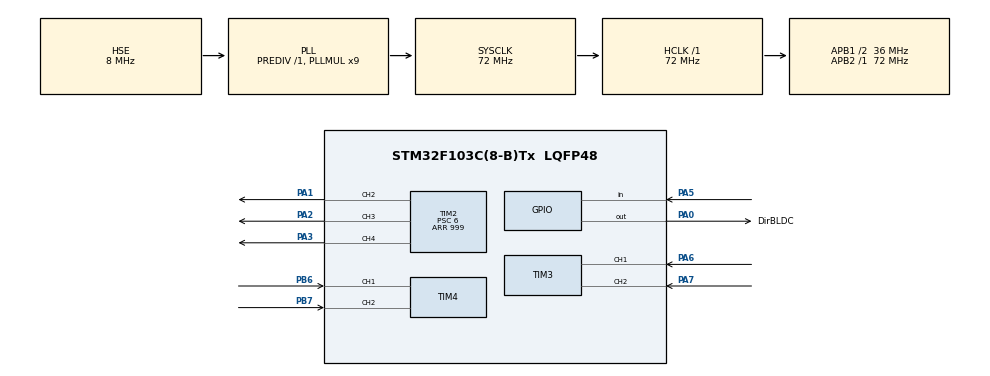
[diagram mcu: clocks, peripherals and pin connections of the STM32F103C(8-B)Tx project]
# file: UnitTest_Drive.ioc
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FREERTOS.Tasks01=DriveBLDC,-1,128,StartDriveBLDC,Default,NULL,Dynamic,NULL,NULL;DriveDC,-1,128,StartDrvieDC,Default,NULL,Dynamic,NULL,NULL
Mcu.Family=STM32F1
Mcu.Name=STM32F103C(8-B)Tx
Mcu.Package=LQFP48
NVIC.PriorityGroup=NVIC_PRIORITYGROUP_4
NVIC.TIM3_IRQn=true\:5\:0\:false\:false\:true\:true\:true\:true\:true
NVIC.TIM4_IRQn=true\:5\:0\:false\:false\:true\:true\:true\:true\:true
PA0-WKUP.GPIO_Label=DirBLDC
PA0-WKUP.Signal=GPIO_Output
PA1.Signal=S_TIM2_CH2
PA13.Mode=Serial_Wire
PA13.Signal=SYS_JTMS-SWDIO
PA14.Mode=Serial_Wire
PA14.Signal=SYS_JTCK-SWCLK
PA2.Signal=S_TIM2_CH3
PA3.Signal=S_TIM2_CH4
PA5.Signal=GPIO_Input
PA6.Signal=S_TIM3_CH1
PA7.Signal=S_TIM3_CH2
PB6.Signal=S_TIM4_CH1
PB7.Signal=S_TIM4_CH2
PD0-OSC_IN.Mode=HSE-External-Oscillator
PD0-OSC_IN.Signal=RCC_OSC_IN
PD1-OSC_OUT.Mode=HSE-External-Oscillator
PD1-OSC_OUT.Signal=RCC_OSC_OUT
ProjectManager.HeapSize=0x200
ProjectManager.StackSize=0x400
ProjectManager.TargetToolchain=STM32CubeIDE
RCC.AHBFreq_Value=72000000
RCC.APB1CLKDivider=RCC_HCLK_DIV2
RCC.APB1Freq_Value=36000000
RCC.APB1TimFreq_Value=72000000
RCC.APB2Freq_Value=72000000
RCC.APB2TimFreq_Value=72000000
RCC.HCLKFreq_Value=72000000
RCC.PLLMUL=RCC_PLL_MUL9
RCC.PLLSourceVirtual=RCC_PLLSOURCE_HSE
RCC.SYSCLKFreq_VALUE=72000000
RCC.SYSCLKSource=RCC_SYSCLKSOURCE_PLLCLK
RCC.USBFreq_Value=72000000
SH.S_TIM2_CH2.0=TIM2_CH2,PWM Generation2 CH2
SH.S_TIM2_CH3.0=TIM2_CH3,PWM Generation3 CH3
SH.S_TIM2_CH4.0=TIM2_CH4,PWM Generation4 CH4
SH.S_TIM3_CH1.0=TIM3_CH1,Encoder_Interface
SH.S_TIM3_CH2.0=TIM3_CH2,Encoder_Interface
SH.S_TIM4_CH1.0=TIM4_CH1,Encoder_Interface
SH.S_TIM4_CH2.0=TIM4_CH2,Encoder_Interface
TIM2.Channel-PWM\ Generation2\ CH2=TIM_CHANNEL_2
TIM2.Channel-PWM\ Generation3\ CH3=TIM_CHANNEL_3
TIM2.Channel-PWM\ Generation4\ CH4=TIM_CHANNEL_4
TIM2.Period=999
TIM2.Prescaler=6
TIM3.EncoderMode=TIM_ENCODERMODE_TI12
TIM4.EncoderMode=TIM_ENCODERMODE_TI12
VP_FREERTOS_VS_CMSIS_V1.Mode=CMSIS_V1
VP_TIM2_VS_ClockSourceINT.Mode=Internal
board=custom

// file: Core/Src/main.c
/* USER CODE BEGIN Header */
/**
  ******************************************************************************
  * @file           : main.c
  * @brief          : Main program body
  ******************************************************************************
  * @attention
  *
  * Copyright (c) 2023 STMicroelectronics.
  * All rights reserved.
  *
  * This software is licensed under terms that can be found in the LICENSE file
  * in the root directory of this software component.
  * If no LICENSE file comes with this software, it is provided AS-IS.
  *
  ******************************************************************************
  */
/* USER CODE END Header */
#include "main.h"
#include "cmsis_os.h"

/* USER CODE BEGIN Includes */
#include "DriveMotor.h"
#include "Encoder.h"
#include "stdlib.h"
/* USER CODE END Includes */

/* USER CODE BEGIN PM */
/*-----------------------------Begin:BLDC Macro-------------------------------*/
#define _BLDCDeltaT							0.001
#define _BLDCEncoderPerRound 				  200
#define _BLDCGearRatio 						  2.5
/*-----------------------------End:BLDC Macro---------------------------------*/

/*-----------------------------Begin:DC Macro---------------------------------*/
#define DCDeltaT 							0.001
#define DCEncoderPerRound 					 1000
#define DCGearRatio 						3.535
/*-----------------------------End:DC Macro-----------------------------------*/

/* USER CODE END PM */

TIM_HandleTypeDef htim2;
TIM_HandleTypeDef htim3;
TIM_HandleTypeDef htim4;

osThreadId DriveBLDCHandle;
osThreadId DriveDCHandle;
/* USER CODE BEGIN PV */
EncoderRead ENC_BLDC;
EncoderRead ENC_DC;

MotorDrive BLDC;
MotorDrive DC;

int16_t SpeedTestBLDC;
int16_t SpeedTestDC;
/* USER CODE END PV */

void SystemClock_Config(void);
static void MX_GPIO_Init(void);
static void MX_TIM2_Init(void);
static void MX_TIM3_Init(void);
static void MX_TIM4_Init(void);
void StartDriveBLDC(void const * argument);
void StartDrvieDC(void const * argument);

int main(void)
{

  /* MCU Configuration--------------------------------------------------------*/

  /* Reset of all peripherals, Initializes the Flash interface and the Systick. */
  HAL_Init();

  /* Configure the system clock */
  SystemClock_Config();

  /* Initialize all configured peripherals */
  MX_GPIO_Init();
  MX_TIM2_Init();
  MX_TIM3_Init();
  MX_TIM4_Init();
  /* USER CODE BEGIN 2 */
  HAL_TIM_Encoder_Start_IT(&htim3, TIM_CHANNEL_ALL);
  HAL_TIM_Encoder_Start_IT(&htim4, TIM_CHANNEL_ALL);
  HAL_TIM_PWM_Start(&htim2, TIM_CHANNEL_2);
  HAL_TIM_PWM_Start(&htim2, TIM_CHANNEL_3);
  HAL_TIM_PWM_Start(&htim2, TIM_CHANNEL_4);

  EncoderSetting(&ENC_BLDC, &htim4, _BLDCEncoderPerRound*_BLDCGearRatio, _BLDCDeltaT);
  EncoderSetting(&ENC_DC, &htim3, DCEncoderPerRound * DCGearRatio, DCDeltaT);
  /* USER CODE END 2 */

  /* Create the thread(s) */
  /* definition and creation of DriveBLDC */
  osThreadDef(DriveBLDC, StartDriveBLDC, osPriorityBelowNormal, 0, 128);
  DriveBLDCHandle = osThreadCreate(osThread(DriveBLDC), NULL);

  /* definition and creation of DriveDC */
  osThreadDef(DriveDC, StartDrvieDC, osPriorityBelowNormal, 0, 128);
  DriveDCHandle = osThreadCreate(osThread(DriveDC), NULL);

  /* Start scheduler */
  osKernelStart();

  /* We should never get here as control is now taken by the scheduler */
  /* Infinite loop */
  while (1)
  {

  }
}

void SystemClock_Config(void)
{
  RCC_OscInitTypeDef RCC_OscInitStruct = {0};
  RCC_ClkInitTypeDef RCC_ClkInitStruct = {0};

  /** Initializes the RCC Oscillators according to the specified parameters
  * in the RCC_OscInitTypeDef structure.
  */
  RCC_OscInitStruct.OscillatorType = RCC_OSCILLATORTYPE_HSE;
  RCC_OscInitStruct.HSEState = RCC_HSE_ON;
  RCC_OscInitStruct.HSEPredivValue = RCC_HSE_PREDIV_DIV1;
  RCC_OscInitStruct.HSIState = RCC_HSI_ON;
  RCC_OscInitStruct.PLL.PLLState = RCC_PLL_ON;
  RCC_OscInitStruct.PLL.PLLSource = RCC_PLLSOURCE_HSE;
  RCC_OscInitStruct.PLL.PLLMUL = RCC_PLL_MUL9;
  if (HAL_RCC_OscConfig(&RCC_OscInitStruct) != HAL_OK)
  {
    Error_Handler();
  }

  /** Initializes the CPU, AHB and APB buses clocks
  */
  RCC_ClkInitStruct.ClockType = RCC_CLOCKTYPE_HCLK|RCC_CLOCKTYPE_SYSCLK
                              |RCC_CLOCKTYPE_PCLK1|RCC_CLOCKTYPE_PCLK2;
  RCC_ClkInitStruct.SYSCLKSource = RCC_SYSCLKSOURCE_PLLCLK;
  RCC_ClkInitStruct.AHBCLKDivider = RCC_SYSCLK_DIV1;
  RCC_ClkInitStruct.APB1CLKDivider = RCC_HCLK_DIV2;
  RCC_ClkInitStruct.APB2CLKDivider = RCC_HCLK_DIV1;

  if (HAL_RCC_ClockConfig(&RCC_ClkInitStruct, FLASH_LATENCY_2) != HAL_OK)
  {
    Error_Handler();
  }
}

static void MX_TIM2_Init(void)
{

  TIM_ClockConfigTypeDef sClockSourceConfig = {0};
  TIM_MasterConfigTypeDef sMasterConfig = {0};
  TIM_OC_InitTypeDef sConfigOC = {0};

  htim2.Instance = TIM2;
  htim2.Init.Prescaler = 6;
  htim2.Init.CounterMode = TIM_COUNTERMODE_UP;
  htim2.Init.Period = 999;
  htim2.Init.ClockDivision = TIM_CLOCKDIVISION_DIV1;
  htim2.Init.AutoReloadPreload = TIM_AUTORELOAD_PRELOAD_DISABLE;
  if (HAL_TIM_Base_Init(&htim2) != HAL_OK)
  {
    Error_Handler();
  }
  sClockSourceConfig.ClockSource = TIM_CLOCKSOURCE_INTERNAL;
  if (HAL_TIM_ConfigClockSource(&htim2, &sClockSourceConfig) != HAL_OK)
  {
    Error_Handler();
  }
  if (HAL_TIM_PWM_Init(&htim2) != HAL_OK)
  {
    Error_Handler();
  }
  sMasterConfig.MasterOutputTrigger = TIM_TRGO_RESET;
  sMasterConfig.MasterSlaveMode = TIM_MASTERSLAVEMODE_DISABLE;
  if (HAL_TIMEx_MasterConfigSynchronization(&htim2, &sMasterConfig) != HAL_OK)
  {
    Error_Handler();
  }
  sConfigOC.OCMode = TIM_OCMODE_PWM1;
  sConfigOC.Pulse = 0;
  sConfigOC.OCPolarity = TIM_OCPOLARITY_HIGH;
  sConfigOC.OCFastMode = TIM_OCFAST_DISABLE;
  if (HAL_TIM_PWM_ConfigChannel(&htim2, &sConfigOC, TIM_CHANNEL_2) != HAL_OK)
  {
    Error_Handler();
  }
  if (HAL_TIM_PWM_ConfigChannel(&htim2, &sConfigOC, TIM_CHANNEL_3) != HAL_OK)
  {
    Error_Handler();
  }
  if (HAL_TIM_PWM_ConfigChannel(&htim2, &sConfigOC, TIM_CHANNEL_4) != HAL_OK)
  {
    Error_Handler();
  }
  HAL_TIM_MspPostInit(&htim2);

}

static void MX_TIM3_Init(void)
{

  TIM_Encoder_InitTypeDef sConfig = {0};
  TIM_MasterConfigTypeDef sMasterConfig = {0};

  htim3.Instance = TIM3;
  htim3.Init.Prescaler = 0;
  htim3.Init.CounterMode = TIM_COUNTERMODE_UP;
  htim3.Init.Period = 65535;
  htim3.Init.ClockDivision = TIM_CLOCKDIVISION_DIV1;
  htim3.Init.AutoReloadPreload = TIM_AUTORELOAD_PRELOAD_DISABLE;
  sConfig.EncoderMode = TIM_ENCODERMODE_TI12;
  sConfig.IC1Polarity = TIM_ICPOLARITY_RISING;
  sConfig.IC1Selection = TIM_ICSELECTION_DIRECTTI;
  sConfig.IC1Prescaler = TIM_ICPSC_DIV1;
  sConfig.IC1Filter = 0;
  sConfig.IC2Polarity = TIM_ICPOLARITY_RISING;
  sConfig.IC2Selection = TIM_ICSELECTION_DIRECTTI;
  sConfig.IC2Prescaler = TIM_ICPSC_DIV1;
  sConfig.IC2Filter = 0;
  if (HAL_TIM_Encoder_Init(&htim3, &sConfig) != HAL_OK)
  {
    Error_Handler();
  }
  sMasterConfig.MasterOutputTrigger = TIM_TRGO_RESET;
  sMasterConfig.MasterSlaveMode = TIM_MASTERSLAVEMODE_DISABLE;
  if (HAL_TIMEx_MasterConfigSynchronization(&htim3, &sMasterConfig) != HAL_OK)
  {
    Error_Handler();
  }

}

static void MX_TIM4_Init(void)
{

  TIM_Encoder_InitTypeDef sConfig = {0};
  TIM_MasterConfigTypeDef sMasterConfig = {0};

  htim4.Instance = TIM4;
  htim4.Init.Prescaler = 0;
  htim4.Init.CounterMode = TIM_COUNTERMODE_UP;
  htim4.Init.Period = 65535;
  htim4.Init.ClockDivision = TIM_CLOCKDIVISION_DIV1;
  htim4.Init.AutoReloadPreload = TIM_AUTORELOAD_PRELOAD_DISABLE;
  sConfig.EncoderMode = TIM_ENCODERMODE_TI12;
  sConfig.IC1Polarity = TIM_ICPOLARITY_RISING;
  sConfig.IC1Selection = TIM_ICSELECTION_DIRECTTI;
  sConfig.IC1Prescaler = TIM_ICPSC_DIV1;
  sConfig.IC1Filter = 0;
  sConfig.IC2Polarity = TIM_ICPOLARITY_RISING;
  sConfig.IC2Selection = TIM_ICSELECTION_DIRECTTI;
  sConfig.IC2Prescaler = TIM_ICPSC_DIV1;
  sConfig.IC2Filter = 0;
  if (HAL_TIM_Encoder_Init(&htim4, &sConfig) != HAL_OK)
  {
    Error_Handler();
  }
  sMasterConfig.MasterOutputTrigger = TIM_TRGO_RESET;
  sMasterConfig.MasterSlaveMode = TIM_MASTERSLAVEMODE_DISABLE;
  if (HAL_TIMEx_MasterConfigSynchronization(&htim4, &sMasterConfig) != HAL_OK)
  {
    Error_Handler();
  }

}

static void MX_GPIO_Init(void)
{
  GPIO_InitTypeDef GPIO_InitStruct = {0};

  /* GPIO Ports Clock Enable */
  __HAL_RCC_GPIOD_CLK_ENABLE();
  __HAL_RCC_GPIOA_CLK_ENABLE();
  __HAL_RCC_GPIOB_CLK_ENABLE();

  /*Configure GPIO pin Output Level */
  HAL_GPIO_WritePin(DirBLDC_GPIO_Port, DirBLDC_Pin, GPIO_PIN_RESET);

  /*Configure GPIO pin : DirBLDC_Pin */
  GPIO_InitStruct.Pin = DirBLDC_Pin;
  GPIO_InitStruct.Mode = GPIO_MODE_OUTPUT_PP;
  GPIO_InitStruct.Pull = GPIO_NOPULL;
  GPIO_InitStruct.Speed = GPIO_SPEED_FREQ_LOW;
  HAL_GPIO_Init(DirBLDC_GPIO_Port, &GPIO_InitStruct);

  /*Configure GPIO pin : PA5 */
  GPIO_InitStruct.Pin = GPIO_PIN_5;
  GPIO_InitStruct.Mode = GPIO_MODE_INPUT;
  GPIO_InitStruct.Pull = GPIO_NOPULL;
  HAL_GPIO_Init(GPIOA, &GPIO_InitStruct);

}

uint8_t sensor;
void StartDriveBLDC(void const * argument)
{
  /* USER CODE BEGIN 5 */
  /* Infinite loop */
  for(;;)
  {
	sensor = HAL_GPIO_ReadPin(GPIOA, GPIO_PIN_5);
	BLDC_Drive_RedBoard(&BLDC, &htim2, SpeedTestBLDC, TIM_CHANNEL_2);
	SpeedReadNonReset(&ENC_BLDC);
    osDelay(1);
  }
  /* USER CODE END 5 */
}

void StartDrvieDC(void const * argument)
{
  /* USER CODE BEGIN StartDrvieDC */
  /* Infinite loop */
  for(;;)
  {
	DC_Drive_BTS(&DC, &htim2, motor_Reserve, SpeedTestDC, TIM_CHANNEL_3, TIM_CHANNEL_4);
	SpeedReadNonReset(&ENC_DC);
    osDelay(1);
  }
  /* USER CODE END StartDrvieDC */
}

void Error_Handler(void)
{
  __disable_irq();
  while (1)
  {
  }
}
